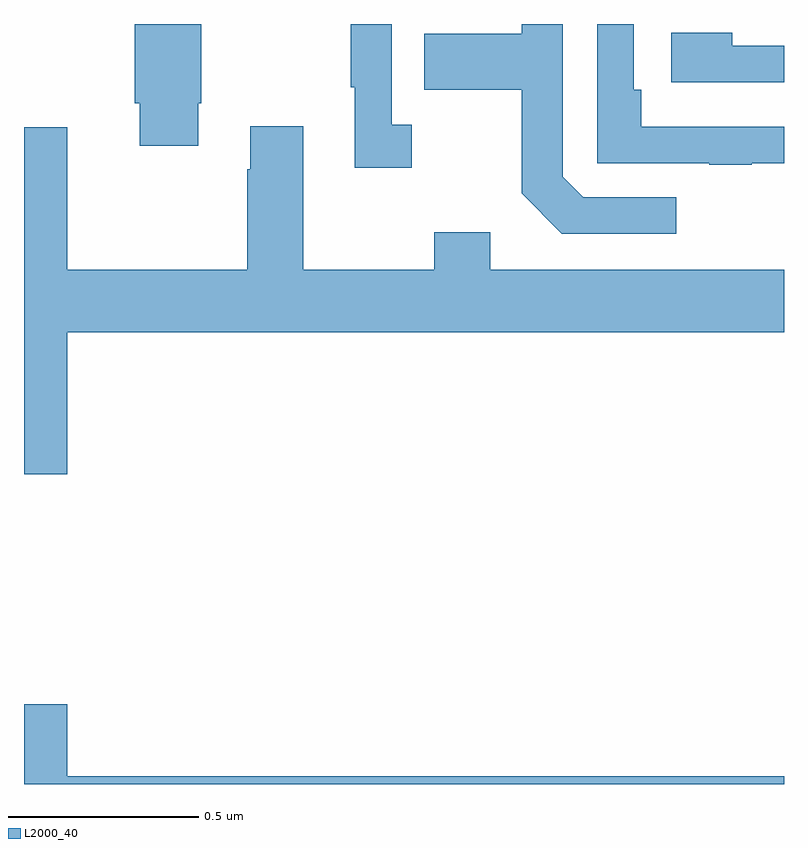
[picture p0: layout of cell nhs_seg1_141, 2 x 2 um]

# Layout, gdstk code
import gdstk
lib = gdstk.Library(unit=1e-6, precision=1e-09)
def P(c, l, *ps):  # polygons
    for p in ps: c.add(gdstk.Polygon(p, *l))
L2000_40 = (2000, 40)

nhs_seg1_141 = lib.new_cell('nhs_seg1_141')
P(nhs_seg1_141, L2000_40, [(113.02,562.934),(112.968,562.934),(112.968,563.199),(112.86,563.199),(112.86,563.033),(112.871,563.033),(112.871,562.821),(113.02,562.821)],
  [(113.915,562.833),(114,562.833),(114,562.929),(113.624,562.929),(113.624,563.026),(113.604,563.026),(113.604,563.199),(113.508,563.199),(113.508,562.833),(113.803,562.833),(113.803,562.828),(113.915,562.828)],
  [(112.459,562.99),(112.467,562.99),(112.467,563.199),(112.292,563.199),(112.292,562.99),(112.304,562.99),(112.304,562.878),(112.459,562.878)],
  [(113.716,562.743),(113.472,562.743),(113.418,562.797),(113.418,563.199),(113.31,563.199),(113.31,563.173),(113.053,563.173),(113.053,563.026),(113.31,563.026),(113.31,562.753),(113.415,562.647),(113.716,562.647)],
  [(114,563.142),(113.864,563.142),(113.864,563.176),(113.703,563.176),(113.703,563.046),(114,563.046)],
  [(112.114,562.388),(114,562.388),(114,562.552),(113.227,562.552),(113.227,562.651),(113.08,562.651),(113.08,562.552),(112.735,562.552),(112.735,562.93),(112.595,562.93),(112.595,562.817),(112.588,562.817),(112.588,562.552),(112.114,562.552),(112.114,562.927),(112,562.927),(112,562.014),(112.114,562.014)],
  [(114,561.22),(112.114,561.22),(112.114,561.409),(112,561.409),(112,561.199),(114,561.199)])

lib.write_gds('nhs_seg1_141.gds')
